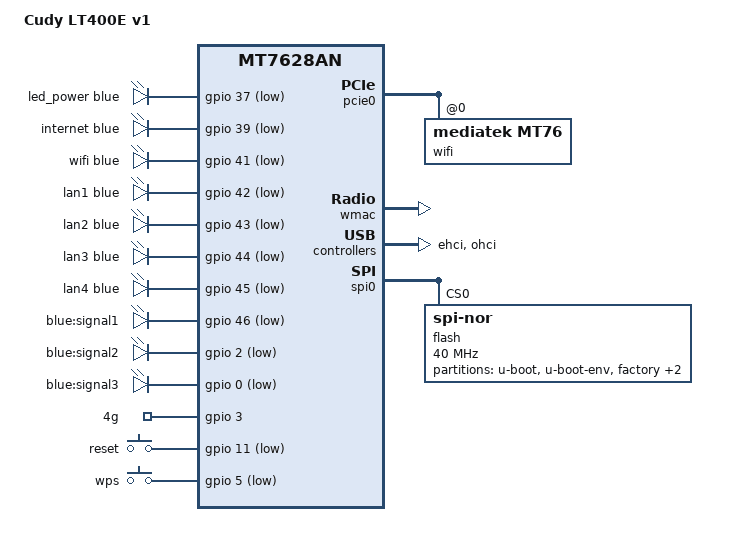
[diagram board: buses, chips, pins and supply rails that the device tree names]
// SPDX-License-Identifier: GPL-2.0-or-later OR MIT

#include "mt7628an.dtsi"

#include <dt-bindings/gpio/gpio.h>
#include <dt-bindings/input/input.h>
#include <dt-bindings/leds/common.h>

/ {
	compatible = "cudy,lt400e-v1", "mediatek,mt7628an-soc";
	model = "Cudy LT400E v1";

	aliases {
		led-boot = &led_power;
		led-running = &led_power;
		led-failsafe = &led_power;
		led-upgrade = &led_power;
		label-mac-device = &ethernet;
	};

	chosen {
		bootargs = "console=ttyS0,115200";
	};

	leds {
		compatible = "gpio-leds";

		led_power: power {
			function = LED_FUNCTION_POWER;
			color = <LED_COLOR_ID_BLUE>;
			gpios = <&gpio 37 GPIO_ACTIVE_LOW>;
		};

		internet {
			function = LED_FUNCTION_MOBILE;
			color = <LED_COLOR_ID_BLUE>;
			gpios = <&gpio 39 GPIO_ACTIVE_LOW>;
		};

		wifi {
			function = LED_FUNCTION_WLAN;
			color = <LED_COLOR_ID_BLUE>;
			gpios = <&gpio 41 GPIO_ACTIVE_LOW>;
		};

		lan1 {
			function = LED_FUNCTION_LAN;
			color = <LED_COLOR_ID_BLUE>;
			function-enumerator = <1>;
			gpios = <&gpio 42 GPIO_ACTIVE_LOW>;
		};

		lan2 {
			function = LED_FUNCTION_LAN;
			color = <LED_COLOR_ID_BLUE>;
			function-enumerator = <2>;
			gpios = <&gpio 43 GPIO_ACTIVE_LOW>;
		};

		lan3 {
			function = LED_FUNCTION_LAN;
			color = <LED_COLOR_ID_BLUE>;
			function-enumerator = <3>;
			gpios = <&gpio 44 GPIO_ACTIVE_LOW>;
		};

		lan4 {
			function = LED_FUNCTION_LAN;
			color = <LED_COLOR_ID_BLUE>;
			function-enumerator = <4>;
			gpios = <&gpio 45 GPIO_ACTIVE_LOW>;
		};

		signal1 {
			label = "blue:signal1";
			gpios = <&gpio 46 GPIO_ACTIVE_LOW>;
		};

		signal2 {
			label = "blue:signal2";
			gpios = <&gpio 2 GPIO_ACTIVE_LOW>;
		};

		led-signal3 {
			label = "blue:signal3";
			gpios = <&gpio 0 GPIO_ACTIVE_LOW>;
		};
	};

	gpio-export {
		compatible = "gpio-export";

		usb4g {
			gpio-export,name = "4g";
			gpio-export,output = <0>;
			gpios = <&gpio 3 GPIO_ACTIVE_HIGH>;
		};
	};

	gpio-keys {
		compatible = "gpio-keys";

		reset {
			label = "reset";
			linux,code = <KEY_RESTART>;
			gpios = <&gpio 11 GPIO_ACTIVE_LOW>;
		};

		wps {
			label = "wps";
			gpios = <&gpio 5 GPIO_ACTIVE_LOW>;
			linux,code = <KEY_WPS_BUTTON>;
		};
	};
};


&state_default {
	gpio {
		groups = "i2c", "gpio", "wdt", "p0led_an", "wled_an";
		function = "gpio";
	};
};

&pcie0 {
	wifi@0,0 {
		compatible = "mediatek,mt76";
		reg = <0x0000 0 0 0 0>;
		nvmem-cells = <&eeprom_factory_8000>, <&macaddr_bdinfo_de00 2>;
		nvmem-cell-names = "eeprom", "mac-address";
		ieee80211-freq-limit = <5000000 6000000>;
	};
};

&wmac {
	status = "okay";

	nvmem-cells = <&eeprom_factory_0>, <&macaddr_bdinfo_de00 0>;
	nvmem-cell-names = "eeprom", "mac-address";
};

&ethernet {
	nvmem-cells = <&macaddr_bdinfo_de00 0>;
	nvmem-cell-names = "mac-address";
};

&ehci {
	status = "okay";
};

&ohci {
	status = "okay";
};

&spi0 {
	status = "okay";

	flash@0 {
		compatible = "jedec,spi-nor";
		reg = <0>;
		spi-max-frequency = <40000000>;

		partitions {
			compatible = "fixed-partitions";
			#address-cells = <1>;
			#size-cells = <1>;

			partition@0 {
				label = "u-boot";
				reg = <0x0 0x30000>;
				read-only;
			};

			partition@30000 {
				label = "u-boot-env";
				reg = <0x30000 0x10000>;
				read-only;
			};

			partition@40000 {
				label = "factory";
				reg = <0x40000 0x10000>;
				read-only;

				nvmem-layout {
					compatible = "fixed-layout";
					#address-cells = <1>;
					#size-cells = <1>;

					eeprom_factory_0: eeprom@0 {
						reg = <0x0 0x400>;
					};

					eeprom_factory_8000: eeprom@8000 {
						reg = <0x8000 0x4da8>;
					};
				};
			};

			partition@50000 {
				compatible = "denx,uimage";
				label = "firmware";
				reg = <0x50000 0x7a0000>;
			};

			partition@ff0000 {
				label = "bdinfo";
				reg = <0x7f0000 0x10000>;
				read-only;

				nvmem-layout {
					compatible = "fixed-layout";
					#address-cells = <1>;
					#size-cells = <1>;

					macaddr_bdinfo_de00: macaddr@de00 {
						compatible = "mac-base";
						reg = <0xde00 0x6>;
						#nvmem-cell-cells = <1>;
					};
				};
			};
		};
	};
};
